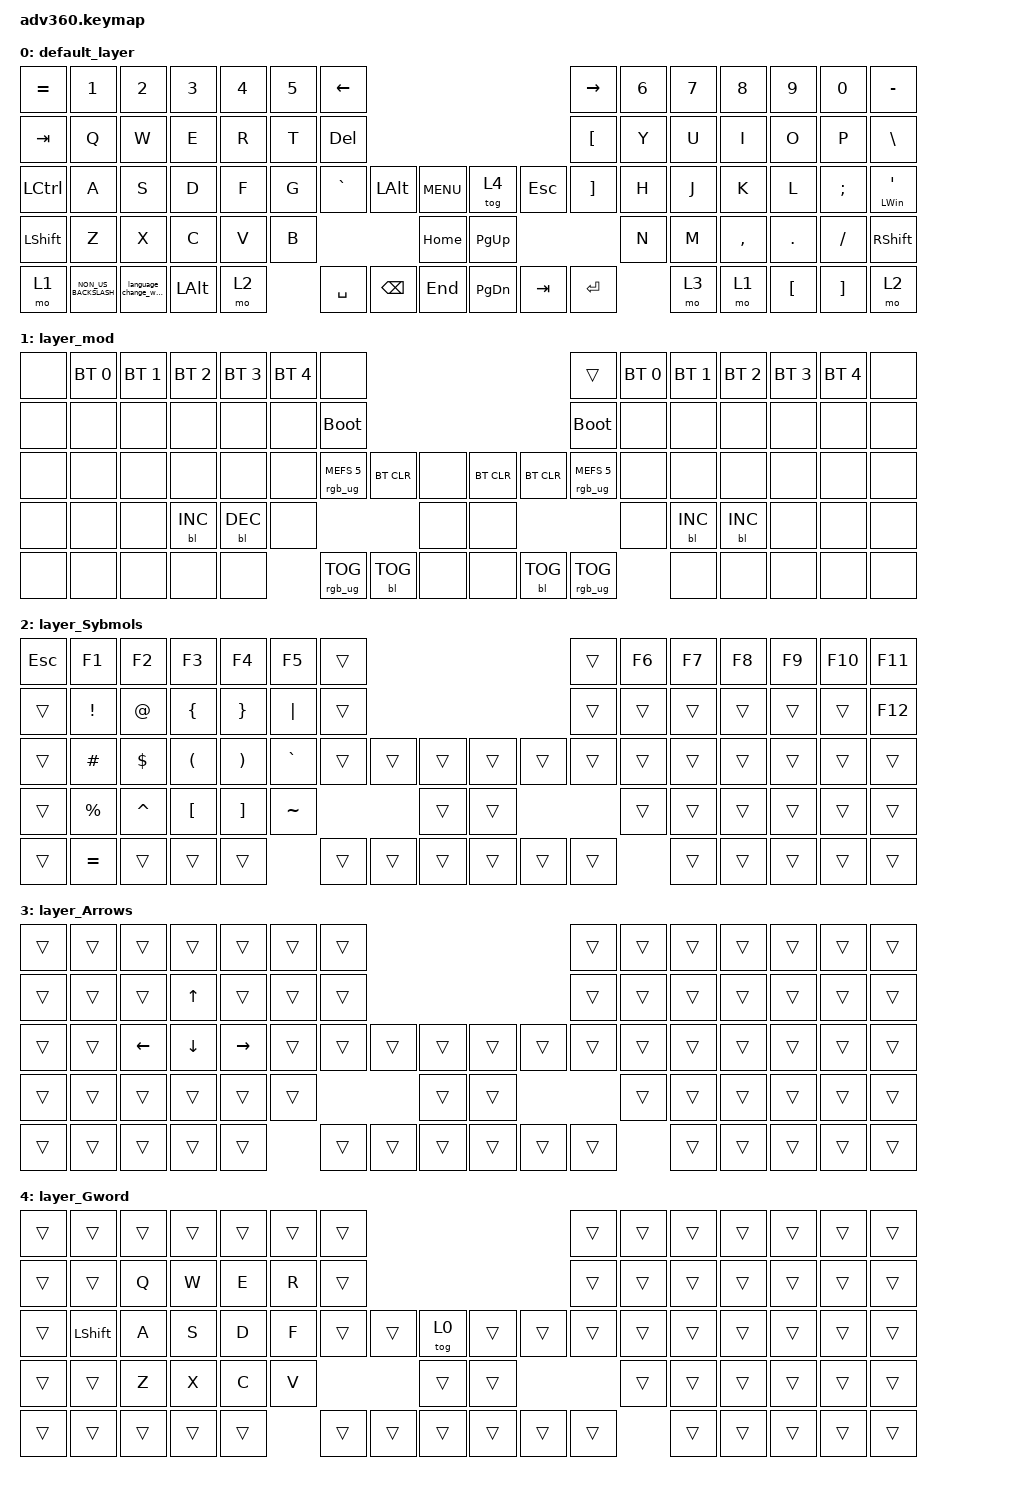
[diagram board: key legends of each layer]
/*
 * Copyright (c) 2020 The ZMK Contributors
 * Copyright (c) 2022 Tristan Gosselin-Hane
 *
 * SPDX-License-Identifier: MIT
 */

#include <behaviors.dtsi>
#include <dt-bindings/zmk/keys.h>
#include <dt-bindings/zmk/bt.h>
#include <dt-bindings/zmk/rgb.h>
#include <dt-bindings/zmk/stp.h>
#include <dt-bindings/zmk/backlight.h>
#include <dt-bindings/zmk/pointing.h>

/ {
    behaviors {
      #include "macros.dtsi"
      #include "version.dtsi"

        language_change_windows: language_change_windows {
            compatible = "zmk,behavior-macro";
            #binding-cells = <0>;
            bindings = <&kt RIGHT_WIN &kp SPACE &kt RIGHT_WIN>;
            label = "LANGUAGE_CHANGE_WINDOWS";
        };

        hm: homerow_mods {
            compatible = "zmk,behavior-hold-tap";
            label = "HOMEROW_MODS";
            #binding-cells = <2>;
            tapping-term-ms = <200>;
            quick_tap_ms = <175>;
            flavor = "tap-preferred";
            bindings = <&kp>, <&kp>;
        };

        // https://zmk.dev/docs/behaviors/hold-tap
        // Always prefer the tap behaviour on mod-tap key if we pressed something else in the last 125ms
        // This is useful for my '/super key so that the super never gets triggered while I am in the middle
        // of typing something and a ' is immediately emitted

        gqt: global-quick-tap {
            compatible = "zmk,behavior-hold-tap";
            label = "GLOBAL_QUICK_TAP";
            #binding-cells = <2>;
            flavor = "tap-preferred";
            tapping-term-ms = <200>;
            quick-tap-ms = <125>;
            global-quick-tap;
            bindings = <&kp>, <&kp>;
        };
    };

    macros {
    };

    keymap {
        compatible = "zmk,keymap";

        default_layer {
            bindings = <
&kp EQUAL         &kp N1                &kp N2                    &kp N3        &kp N4  &kp N5  &kp LEFT_ARROW                                                         &kp RIGHT_ARROW    &kp N6  &kp N7  &kp N8     &kp N9            &kp N0             &kp MINUS
&kp TAB           &kp Q                 &kp W                     &kp E         &kp R   &kp T   &kp DEL                                                                &kp LEFT_BRACKET   &kp Y   &kp U   &kp I      &kp O             &kp P              &kp BSLH
&kp LEFT_CONTROL  &kp A                 &kp S                     &kp D         &kp F   &kp G   &kp GRAVE       &kp LEFT_ALT   &kp K_MENU      &tog 4         &kp ESC  &kp RIGHT_BRACKET  &kp H   &kp J   &kp K      &kp L             &kp SEMI           &gqt LEFT_WIN APOSTROPHE
&kp LSHFT         &kp Z                 &kp X                     &kp C         &kp V   &kp B                                  &kp HOME        &kp PAGE_UP                                &kp N   &kp M   &kp COMMA  &kp PERIOD        &kp SLASH          &kp RIGHT_SHIFT
&mo 1             &kp NON_US_BACKSLASH  &language_change_windows  &kp LEFT_ALT  &mo 2           &kp SPACE       &kp BACKSPACE  &kp END         &kp PAGE_DOWN  &kp TAB  &kp ENTER                  &mo 3   &mo 1      &kp LEFT_BRACKET  &kp RIGHT_BRACKET  &mo 2
            >;
        };

        layer_mod {
            bindings = <
&none  &bt BT_SEL 0  &bt BT_SEL 1  &bt BT_SEL 2  &bt BT_SEL 3  &bt BT_SEL 4  &none                                                                  &trans                  &bt BT_SEL 0  &bt BT_SEL 1  &bt BT_SEL 2  &bt BT_SEL 3  &bt BT_SEL 4  &none
&none  &none         &none         &none         &none         &none         &bootloader                                                            &bootloader             &none         &none         &none         &none         &none         &none
&none  &none         &none         &none         &none         &none         &rgb_ug RGB_MEFS_CMD 5  &bt BT_CLR  &none      &bt BT_CLR  &bt BT_CLR  &rgb_ug RGB_MEFS_CMD 5  &none         &none         &none         &none         &none         &none
&none  &none         &none         &bl BL_INC    &bl BL_DEC    &none                                             &none      &none                                           &none         &bl BL_INC    &bl BL_INC    &none         &none         &none
&none  &none         &none         &none         &none                       &rgb_ug RGB_TOG         &bl BL_TOG  &none      &none       &bl BL_TOG  &rgb_ug RGB_TOG                       &none         &none         &none         &none         &none
            >;
        };

        layer_Sybmols {
            bindings = <
&kp ESC  &kp F1           &kp F2      &kp F3                &kp F4                 &kp F5     &trans                                      &trans  &kp F6  &kp F7  &kp F8  &kp F9  &kp F10  &kp F11
&trans   &kp EXCLAMATION  &kp AT      &kp LEFT_BRACE        &kp RIGHT_BRACE        &kp PIPE   &trans                                      &trans  &trans  &trans  &trans  &trans  &trans   &kp F12
&trans   &kp HASH         &kp DOLLAR  &kp LEFT_PARENTHESIS  &kp RIGHT_PARENTHESIS  &kp GRAVE  &trans  &trans  &trans      &trans  &trans  &trans  &trans  &trans  &trans  &trans  &trans   &trans
&trans   &kp PERCENT      &kp CARET   &kp LEFT_BRACKET      &kp RIGHT_BRACKET      &kp TILDE                  &trans      &trans                  &trans  &trans  &trans  &trans  &trans   &trans
&trans   &kp EQUAL        &trans      &trans                &trans                            &trans  &trans  &trans      &trans  &trans  &trans          &trans  &trans  &trans  &trans   &trans
            >;
        };

        layer_Arrows {
            bindings = <
&trans  &trans  &trans          &trans          &trans           &trans  &trans                                      &trans  &trans  &trans  &trans  &trans  &trans  &trans
&trans  &trans  &trans          &kp UP_ARROW    &trans           &trans  &trans                                      &trans  &trans  &trans  &trans  &trans  &trans  &trans
&trans  &trans  &kp LEFT_ARROW  &kp DOWN_ARROW  &kp RIGHT_ARROW  &trans  &trans  &trans  &trans      &trans  &trans  &trans  &trans  &trans  &trans  &trans  &trans  &trans
&trans  &trans  &trans          &trans          &trans           &trans                  &trans      &trans                  &trans  &trans  &trans  &trans  &trans  &trans
&trans  &trans  &trans          &trans          &trans                   &trans  &trans  &trans      &trans  &trans  &trans          &trans  &trans  &trans  &trans  &trans
            >;
        };

        layer_Gword {
            bindings = <
&trans  &trans      &trans  &trans  &trans  &trans  &trans                                      &trans  &trans  &trans  &trans  &trans  &trans  &trans
&trans  &trans      &kp Q   &kp W   &kp E   &kp R   &trans                                      &trans  &trans  &trans  &trans  &trans  &trans  &trans
&trans  &kp LSHIFT  &kp A   &kp S   &kp D   &kp F   &trans  &trans  &tog 0      &trans  &trans  &trans  &trans  &trans  &trans  &trans  &trans  &trans
&trans  &trans      &kp Z   &kp X   &kp C   &kp V                   &trans      &trans                  &trans  &trans  &trans  &trans  &trans  &trans
&trans  &trans      &trans  &trans  &trans          &trans  &trans  &trans      &trans  &trans  &trans          &trans  &trans  &trans  &trans  &trans
            >;
        };
    };
};
